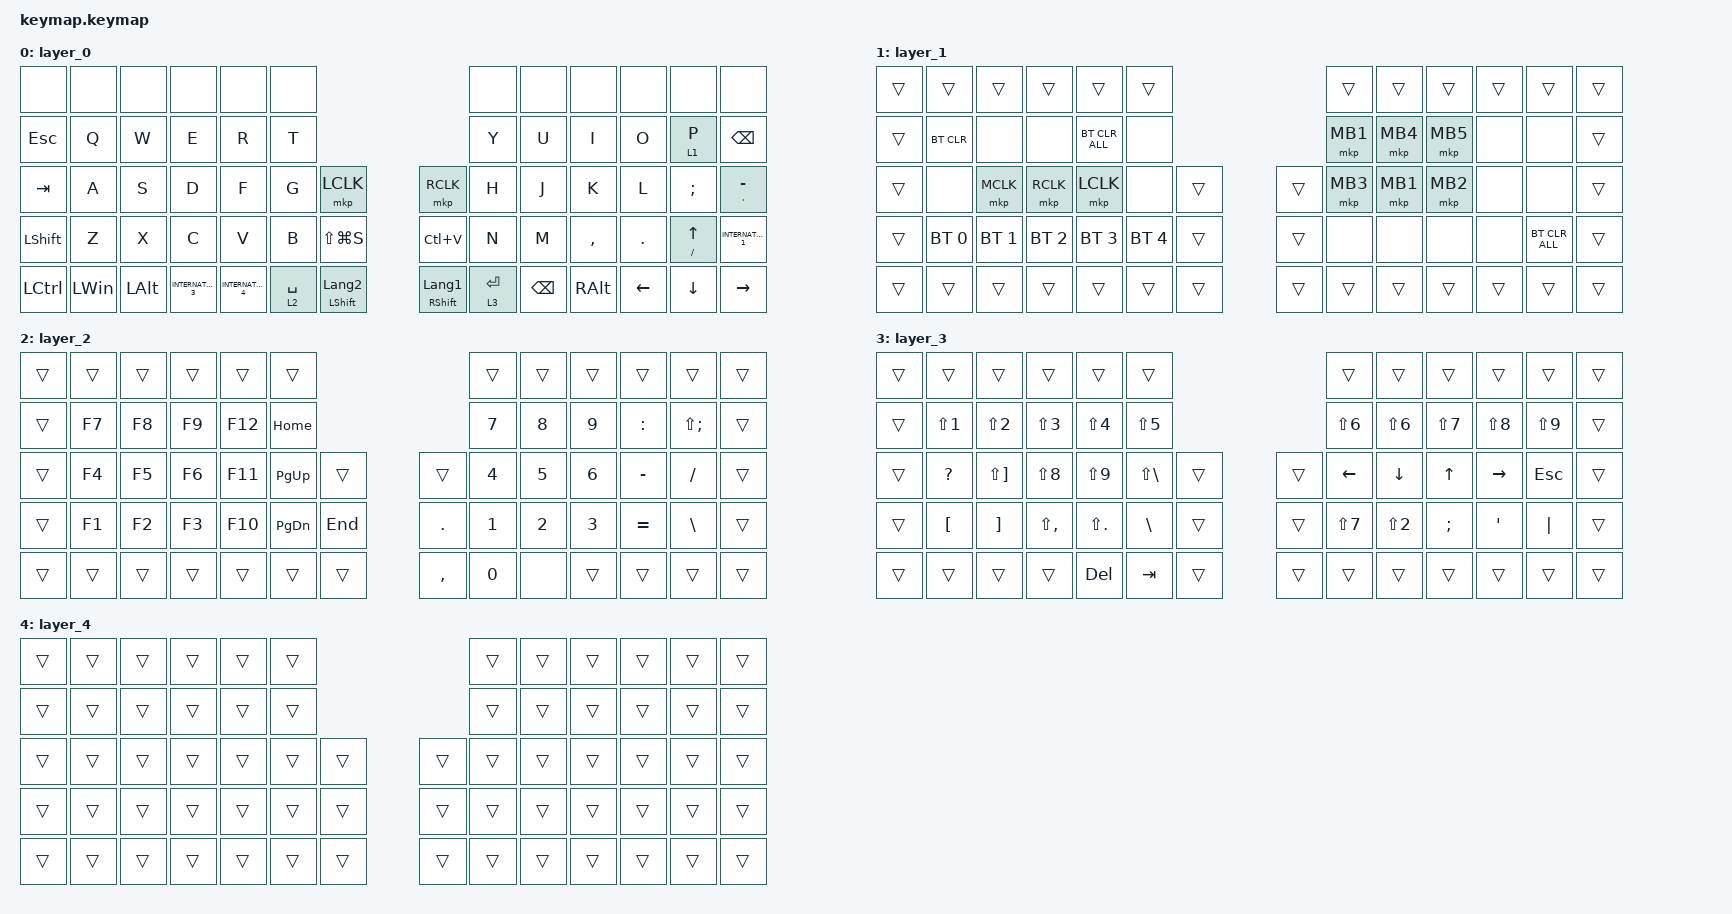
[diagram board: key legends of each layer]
#include <behaviors.dtsi>
#include <dt-bindings/zmk/bt.h>
#include <dt-bindings/zmk/keys.h>
#include <dt-bindings/zmk/pointing.h>

/ {
    combos {
        compatible = "zmk,combos";

        bt_clear {
            bindings = <&bt BT_CLR>;
            key-positions = <28 29>;
            layers = <2>;
        };
    };

    keymap {
        compatible = "zmk,keymap";

        layer_0 {
            bindings = <
&none           &none         &none         &none                &none                &none                                                          &none        &none     &none      &none     &none          &none
&kp ESC         &kp Q         &kp W         &kp E                &kp R                &kp T                                                          &kp Y        &kp U     &kp I      &kp O     &lt 1 P        &kp BACKSPACE
&kp TAB         &kp A         &kp S         &kp D                &kp F                &kp G        &mkp LCLK                  &mkp RCLK              &kp H        &kp J     &kp K      &kp L     &kp SEMICOLON  &mt SINGLE_QUOTE MINUS
&kp LEFT_SHIFT  &kp Z         &kp X         &kp C                &kp V                &kp B        &kp LS(LG(S))              &kp LC(V)              &kp N        &kp M     &kp COMMA  &kp DOT   &mt SLASH UP   &kp INTERNATIONAL_1
&kp LCTRL       &kp LEFT_WIN  &kp LEFT_ALT  &kp INTERNATIONAL_3  &kp INTERNATIONAL_4  &lt 2 SPACE  &mt LEFT_SHIFT LANGUAGE_2  &mt RSHIFT LANGUAGE_1  &lt 3 ENTER  &kp BSPC  &kp RALT   &kp LEFT  &kp DOWN       &kp RIGHT
            >;
        };

        layer_1 {
            bindings = <
&trans  &trans        &trans        &trans        &trans          &trans                        &trans    &trans    &trans    &trans  &trans          &trans
&trans  &bt BT_CLR    &none         &none         &bt BT_CLR_ALL  &none                         &mkp MB1  &mkp MB4  &mkp MB5  &none   &none           &trans
&trans  &none         &mkp MCLK     &mkp RCLK     &mkp LCLK       &none         &trans  &trans  &mkp MB3  &mkp MB1  &mkp MB2  &none   &none           &trans
&trans  &bt BT_SEL 0  &bt BT_SEL 1  &bt BT_SEL 2  &bt BT_SEL 3    &bt BT_SEL 4  &trans  &trans  &none     &none     &none     &none   &bt BT_CLR_ALL  &trans
&trans  &trans        &trans        &trans        &trans          &trans        &trans  &trans  &trans    &trans    &trans    &trans  &trans          &trans
            >;
        };

        layer_2 {
            bindings = <
&trans  &trans  &trans  &trans  &trans   &trans                              &trans  &trans  &trans        &trans     &trans             &trans
&trans  &kp F7  &kp F8  &kp F9  &kp F12  &kp HOME                            &kp N7  &kp N8  &kp N9        &kp COLON  &kp LS(SEMICOLON)  &trans
&trans  &kp F4  &kp F5  &kp F6  &kp F11  &kp PAGE_UP    &trans   &trans      &kp N4  &kp N5  &kp NUMBER_6  &kp MINUS  &kp SLASH          &trans
&trans  &kp F1  &kp F2  &kp F3  &kp F10  &kp PAGE_DOWN  &kp END  &kp PERIOD  &kp N1  &kp N2  &kp NUMBER_3  &kp EQUAL  &kp BACKSLASH      &trans
&trans  &trans  &trans  &trans  &trans   &trans         &trans   &kp COMMA   &kp N0  &none   &trans        &trans     &trans             &trans
            >;
        };

        layer_3 {
            bindings = <
&trans  &trans            &trans                 &trans            &trans            &trans                             &trans            &trans            &trans        &trans            &trans      &trans
&trans  &kp LS(NUMBER_1)  &kp LS(NUMBER_2)       &kp LS(NUMBER_3)  &kp LS(NUMBER_4)  &kp LS(N5)                         &kp LS(NUMBER_6)  &kp LS(NUMBER_6)  &kp LS(N7)    &kp LS(N8)        &kp LS(N9)  &trans
&trans  &kp QUESTION      &kp LS(RIGHT_BRACKET)  &kp LS(N8)        &kp LS(N9)        &kp LS(BACKSLASH)  &trans  &trans  &kp LEFT          &kp DOWN          &kp UP_ARROW  &kp RIGHT         &kp ESC     &trans
&trans  &kp LEFT_BRACKET  &kp RIGHT_BRACKET      &kp LS(COMMA)     &kp LS(PERIOD)    &kp BACKSLASH      &trans  &trans  &kp LS(NUMBER_7)  &kp LS(NUMBER_2)  &kp SEMI      &kp SINGLE_QUOTE  &kp PIPE    &trans
&trans  &trans            &trans                 &trans            &kp DELETE        &kp TAB            &trans  &trans  &trans            &trans            &trans        &trans            &trans      &trans
            >;
        };

        layer_4 {
            bindings = <
&trans  &trans  &trans  &trans  &trans  &trans                  &trans  &trans  &trans  &trans  &trans  &trans
&trans  &trans  &trans  &trans  &trans  &trans                  &trans  &trans  &trans  &trans  &trans  &trans
&trans  &trans  &trans  &trans  &trans  &trans  &trans  &trans  &trans  &trans  &trans  &trans  &trans  &trans
&trans  &trans  &trans  &trans  &trans  &trans  &trans  &trans  &trans  &trans  &trans  &trans  &trans  &trans
&trans  &trans  &trans  &trans  &trans  &trans  &trans  &trans  &trans  &trans  &trans  &trans  &trans  &trans
            >;
        };
    };
};
